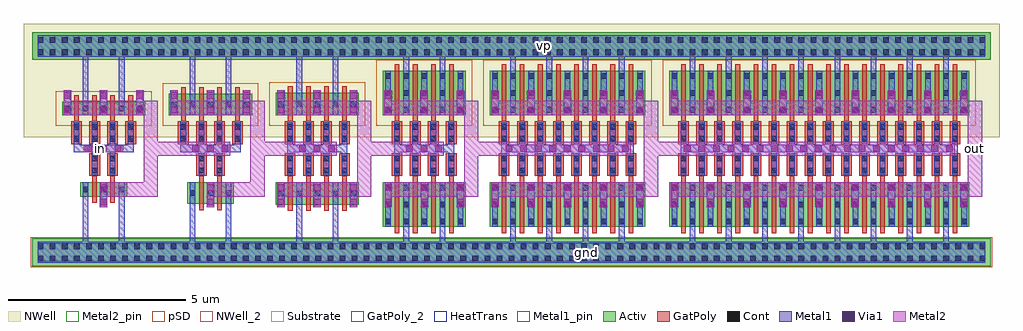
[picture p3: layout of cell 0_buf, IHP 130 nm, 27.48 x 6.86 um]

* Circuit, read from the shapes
.subckt 0_buf gnd in out vp
XM1 n1 in gnd gnd sg13_lv_nmos w=0.4u l=0.13u m=2
XM2 n2 n1 gnd gnd sg13_lv_nmos w=0.6u l=0.13u m=2
XM3 gnd n2 n3 gnd sg13_lv_nmos w=0.625u l=0.13u m=4
XM4 gnd n3 n4 gnd sg13_lv_nmos w=1.25u l=0.13u m=4
XM5 gnd n4 n5 gnd sg13_lv_nmos w=1.25u l=0.13u m=8
XM6 gnd n5 out gnd sg13_lv_nmos w=1.25u l=0.13u m=16
XM7 vp in n1 vp sg13_lv_pmos w=0.375u l=0.13u m=4
XM8 vp n1 n2 vp sg13_lv_pmos w=0.6u l=0.13u m=4
XM9 vp n2 n3 vp sg13_lv_pmos w=0.625u l=0.13u m=4
XM10 vp n3 n4 vp sg13_lv_pmos w=1.25u l=0.13u m=4
XM11 vp n4 n5 vp sg13_lv_pmos w=1.25u l=0.13u m=8
XM12 vp n5 out vp sg13_lv_pmos w=1.25u l=0.13u m=16
.ends

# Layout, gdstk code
from math import pi, radians
import gdstk
lib = gdstk.Library(unit=1e-6, precision=1e-09)
def R(c, l, rs):  # rectangles x0, y0, x1, y1
    for r in rs: c.add(gdstk.rectangle(r[:2], r[2:], *l))
def A(c, l, x, y, w, h, nx, ny, dx, dy):  # array of equal rectangles
    R(c, l, [(x+i*dx, y+j*dy, x+i*dx+w, y+j*dy+h) for i in range(nx) for j in range(ny)])
Activ = (1, 0)
GatPoly = (5, 0)
GatPoly_2 = (5, 2)
Cont = (6, 0)
Metal1 = (8, 0)
Metal1_pin = (8, 2)
Metal2 = (10, 0)
Metal2_pin = (10, 2)
pSD = (14, 0)
Via1 = (19, 0)
NWell = (31, 0)
NWell_2 = (31, 2)
Substrate = (40, 0)
HeatTrans = (51, 0)

pmos_5_1 = lib.new_cell('pmos$5$1')
A(pmos_5_1, Activ, 0, 0, 0.3, 0.3, 9, 1, 0.51, 0)
R(pmos_5_1, Activ, [(0,0,4.38,1.25)])
A(pmos_5_1, GatPoly, 0.34, -0.18, 0.13, 1.61, 8, 1, 0.51, 0)
R(pmos_5_1, GatPoly, [(0.34,-0.18,0.47,1.43)])
A(pmos_5_1, Cont, 0.07, 0.07, 0.16, 0.16, 9, 3, 0.51, 0.475)
A(pmos_5_1, Metal1, 0.58, 0, 0.16, 1.25, 8, 1, 0.51, 0)
R(pmos_5_1, Metal1, [(0.07,0,0.23,1.25), (0.07,0,0.23,1.25), (0.58,0,0.74,1.25)])
R(pmos_5_1, pSD, [(-0.18,-0.3,4.56,1.55)])
R(pmos_5_1, NWell, [(-0.31,-0.31,4.69,1.56)])
A(pmos_5_1, HeatTrans, 0.34, -0.18, 0.13, 1.61, 8, 1, 0.51, 0)
pmos_5_1.add(gdstk.Label('pmos', (0.405,0.625), layer=63, texttype=0))
pmos_5_1.add(gdstk.Label('pmos', (0.405,0.625), layer=51, texttype=0))
pmos_5_1.add(gdstk.Label('pmos', (0.915,0.625), layer=51, texttype=0))
pmos_5_1.add(gdstk.Label('pmos', (1.425,0.625), layer=51, texttype=0))
pmos_5_1.add(gdstk.Label('pmos', (1.935,0.625), layer=51, texttype=0))
pmos_5_1.add(gdstk.Label('pmos', (2.445,0.625), layer=51, texttype=0))
pmos_5_1.add(gdstk.Label('pmos', (2.955,0.625), layer=51, texttype=0))
pmos_5_1.add(gdstk.Label('pmos', (3.465,0.625), layer=51, texttype=0))
pmos_5_1.add(gdstk.Label('pmos', (3.975,0.625), layer=51, texttype=0))

nmos_5_1 = lib.new_cell('nmos$5$1')
A(nmos_5_1, Activ, 0, 0, 0.3, 0.3, 9, 1, 0.51, 0)
R(nmos_5_1, Activ, [(0,0,4.38,1.25)])
A(nmos_5_1, GatPoly, 0.34, -0.18, 0.13, 1.61, 8, 1, 0.51, 0)
R(nmos_5_1, GatPoly_2, [(0.34,-0.18,0.47,1.43)])
A(nmos_5_1, Cont, 0.07, 0.07, 0.16, 0.16, 9, 3, 0.51, 0.475)
A(nmos_5_1, Metal1, 0.07, 0, 0.16, 1.25, 9, 1, 0.51, 0)
R(nmos_5_1, Metal1_pin, [(0.07,0,0.23,1.25), (0.58,0,0.74,1.25)])
A(nmos_5_1, HeatTrans, 0.34, -0.18, 0.13, 1.61, 8, 1, 0.51, 0)
nmos_5_1.add(gdstk.Label('nmos', (0.405,0.625), layer=63, texttype=0))
nmos_5_1.add(gdstk.Label('nmos', (0.405,0.625), layer=51, texttype=0))
nmos_5_1.add(gdstk.Label('nmos', (0.915,0.625), layer=51, texttype=0))
nmos_5_1.add(gdstk.Label('nmos', (1.425,0.625), layer=51, texttype=0))
nmos_5_1.add(gdstk.Label('nmos', (1.935,0.625), layer=51, texttype=0))
nmos_5_1.add(gdstk.Label('nmos', (2.445,0.625), layer=51, texttype=0))
nmos_5_1.add(gdstk.Label('nmos', (2.955,0.625), layer=51, texttype=0))
nmos_5_1.add(gdstk.Label('nmos', (3.465,0.625), layer=51, texttype=0))
nmos_5_1.add(gdstk.Label('nmos', (3.975,0.625), layer=51, texttype=0))

ntap1_11 = lib.new_cell('ntap1$11')
R(ntap1_11, Activ, [(0,0,27,0.78)])
A(ntap1_11, Cont, 0.16, 0.14, 0.16, 0.16, 79, 2, 0.34, 0.34)
R(ntap1_11, Metal1, [(0.16,0.09,26.84,0.69)])
R(ntap1_11, Metal1_pin, [(0.16,0.09,26.84,0.69), (0.16,0.14,26.84,0.64)])
R(ntap1_11, NWell, [(-0.24,-0.24,27.24,1.02), (0,0,27,0.78)])
R(ntap1_11, NWell_2, [(0,0,27,0.78)])
ntap1_11.add(gdstk.Label('well', (13.5,0.01), layer=63, texttype=0))
ntap1_11.add(gdstk.Label('well', (13.5,0.01), layer=31, texttype=0))

ptap1_8 = lib.new_cell('ptap1$8')
R(ptap1_8, Activ, [(0,0,27,0.78)])
A(ptap1_8, Cont, 0.16, 0.14, 0.16, 0.16, 79, 2, 0.34, 0.34)
R(ptap1_8, Metal1, [(0.16,0.09,26.84,0.69), (0.16,0.14,26.84,0.64)])
R(ptap1_8, Metal1_pin, [(0.16,0.14,26.84,0.64)])
R(ptap1_8, pSD, [(-0.03,-0.03,27.03,0.81)])
R(ptap1_8, Substrate, [(0,0,27,0.78)])
ptap1_8.add(gdstk.Label('sub!', (13.5,0.01), layer=63, texttype=0))
ptap1_8.add(gdstk.Label('sub!', (13.5,0.01), layer=40, texttype=0))

via_7_2 = lib.new_cell('Via$7$2')
R(via_7_2, Metal1, [(-0.105,-1.785,0.105,1.785)])
R(via_7_2, Metal2, [(-0.1,-1.785,0.1,1.785)])
A(via_7_2, Via1, -0.095, -1.735, 0.19, 0.19, 1, 9, 0, 0.41)

via_26 = lib.new_cell('Via$26')
R(via_26, GatPoly, [(-0.15,-0.32,0.15,0.32)])
R(via_26, Cont, [(-0.08,-0.25,0.08,-0.09), (-0.08,0.09,0.08,0.25)])
R(via_26, Metal1, [(-0.08,-0.3,0.08,0.3)])

nmos_4_1 = lib.new_cell('nmos$4$1')
A(nmos_4_1, Activ, 0, 0, 0.3, 0.3, 17, 1, 0.51, 0)
R(nmos_4_1, Activ, [(0,0,8.46,1.25)])
A(nmos_4_1, GatPoly, 0.34, -0.18, 0.13, 1.61, 16, 1, 0.51, 0)
R(nmos_4_1, GatPoly_2, [(0.34,-0.18,0.47,1.43)])
A(nmos_4_1, Cont, 0.07, 0.07, 0.16, 0.16, 17, 3, 0.51, 0.475)
A(nmos_4_1, Metal1, 0.07, 0, 0.16, 1.25, 17, 1, 0.51, 0)
R(nmos_4_1, Metal1_pin, [(0.07,0,0.23,1.25), (0.58,0,0.74,1.25)])
A(nmos_4_1, HeatTrans, 0.34, -0.18, 0.13, 1.61, 16, 1, 0.51, 0)
nmos_4_1.add(gdstk.Label('nmos', (0.405,0.625), layer=63, texttype=0))
nmos_4_1.add(gdstk.Label('nmos', (0.405,0.625), layer=51, texttype=0))
nmos_4_1.add(gdstk.Label('nmos', (0.915,0.625), layer=51, texttype=0))
nmos_4_1.add(gdstk.Label('nmos', (1.425,0.625), layer=51, texttype=0))
nmos_4_1.add(gdstk.Label('nmos', (1.935,0.625), layer=51, texttype=0))
nmos_4_1.add(gdstk.Label('nmos', (2.445,0.625), layer=51, texttype=0))
nmos_4_1.add(gdstk.Label('nmos', (2.955,0.625), layer=51, texttype=0))
nmos_4_1.add(gdstk.Label('nmos', (3.465,0.625), layer=51, texttype=0))
nmos_4_1.add(gdstk.Label('nmos', (3.975,0.625), layer=51, texttype=0))
nmos_4_1.add(gdstk.Label('nmos', (4.485,0.625), layer=51, texttype=0))
nmos_4_1.add(gdstk.Label('nmos', (4.995,0.625), layer=51, texttype=0))
nmos_4_1.add(gdstk.Label('nmos', (5.505,0.625), layer=51, texttype=0))
nmos_4_1.add(gdstk.Label('nmos', (6.015,0.625), layer=51, texttype=0))
nmos_4_1.add(gdstk.Label('nmos', (6.525,0.625), layer=51, texttype=0))
nmos_4_1.add(gdstk.Label('nmos', (7.035,0.625), layer=51, texttype=0))
nmos_4_1.add(gdstk.Label('nmos', (7.545,0.625), layer=51, texttype=0))
nmos_4_1.add(gdstk.Label('nmos', (8.055,0.625), layer=51, texttype=0))

pmos_6_2 = lib.new_cell('pmos$6$2')
A(pmos_6_2, Activ, 0, 0, 0.3, 0.3, 17, 1, 0.51, 0)
R(pmos_6_2, Activ, [(0,0,8.46,1.25)])
A(pmos_6_2, GatPoly, 0.34, -0.18, 0.13, 1.61, 16, 1, 0.51, 0)
R(pmos_6_2, GatPoly, [(0.34,-0.18,0.47,1.43)])
A(pmos_6_2, Cont, 0.07, 0.07, 0.16, 0.16, 17, 3, 0.51, 0.475)
A(pmos_6_2, Metal1, 0.58, 0, 0.16, 1.25, 16, 1, 0.51, 0)
R(pmos_6_2, Metal1, [(0.07,0,0.23,1.25), (0.07,0,0.23,1.25), (0.58,0,0.74,1.25)])
R(pmos_6_2, pSD, [(-0.18,-0.3,8.64,1.55)])
R(pmos_6_2, NWell, [(-0.31,-0.31,8.77,1.56)])
A(pmos_6_2, HeatTrans, 0.34, -0.18, 0.13, 1.61, 16, 1, 0.51, 0)
pmos_6_2.add(gdstk.Label('pmos', (0.405,0.625), layer=63, texttype=0))
pmos_6_2.add(gdstk.Label('pmos', (0.405,0.625), layer=51, texttype=0))
pmos_6_2.add(gdstk.Label('pmos', (0.915,0.625), layer=51, texttype=0))
pmos_6_2.add(gdstk.Label('pmos', (1.425,0.625), layer=51, texttype=0))
pmos_6_2.add(gdstk.Label('pmos', (1.935,0.625), layer=51, texttype=0))
pmos_6_2.add(gdstk.Label('pmos', (2.445,0.625), layer=51, texttype=0))
pmos_6_2.add(gdstk.Label('pmos', (2.955,0.625), layer=51, texttype=0))
pmos_6_2.add(gdstk.Label('pmos', (3.465,0.625), layer=51, texttype=0))
pmos_6_2.add(gdstk.Label('pmos', (3.975,0.625), layer=51, texttype=0))
pmos_6_2.add(gdstk.Label('pmos', (4.485,0.625), layer=51, texttype=0))
pmos_6_2.add(gdstk.Label('pmos', (4.995,0.625), layer=51, texttype=0))
pmos_6_2.add(gdstk.Label('pmos', (5.505,0.625), layer=51, texttype=0))
pmos_6_2.add(gdstk.Label('pmos', (6.015,0.625), layer=51, texttype=0))
pmos_6_2.add(gdstk.Label('pmos', (6.525,0.625), layer=51, texttype=0))
pmos_6_2.add(gdstk.Label('pmos', (7.035,0.625), layer=51, texttype=0))
pmos_6_2.add(gdstk.Label('pmos', (7.545,0.625), layer=51, texttype=0))
pmos_6_2.add(gdstk.Label('pmos', (8.055,0.625), layer=51, texttype=0))

via_9_3 = lib.new_cell('Via$9$3')
R(via_9_3, Metal1, [(-0.105,-3.835,0.105,3.835)])
R(via_9_3, Metal2, [(-0.1,-3.835,0.1,3.835)])
A(via_9_3, Via1, -0.095, -3.785, 0.19, 0.19, 1, 19, 0, 0.41)

via_2_2 = lib.new_cell('Via$2$2')
R(via_2_2, Metal1, [(-0.105,-0.35,0.105,0.35)])
R(via_2_2, Metal2, [(-0.1,-0.35,0.1,0.35)])
R(via_2_2, Via1, [(-0.095,-0.3,0.095,-0.11), (-0.095,0.11,0.095,0.3)])

pmos_3_2 = lib.new_cell('pmos$3$2')
A(pmos_3_2, Activ, 0, 0, 0.3, 0.3, 5, 1, 0.51, 0)
R(pmos_3_2, Activ, [(0,0,2.34,1.25)])
A(pmos_3_2, GatPoly, 0.34, -0.18, 0.13, 1.61, 4, 1, 0.51, 0)
R(pmos_3_2, GatPoly, [(0.34,-0.18,0.47,1.43)])
A(pmos_3_2, Cont, 0.07, 0.07, 0.16, 0.16, 5, 3, 0.51, 0.475)
A(pmos_3_2, Metal1, 0.58, 0, 0.16, 1.25, 4, 1, 0.51, 0)
R(pmos_3_2, Metal1, [(0.07,0,0.23,1.25), (0.07,0,0.23,1.25), (0.58,0,0.74,1.25)])
R(pmos_3_2, pSD, [(-0.18,-0.3,2.52,1.55)])
R(pmos_3_2, NWell, [(-0.31,-0.31,2.65,1.56)])
A(pmos_3_2, HeatTrans, 0.34, -0.18, 0.13, 1.61, 4, 1, 0.51, 0)
pmos_3_2.add(gdstk.Label('pmos', (0.405,0.625), layer=63, texttype=0))
pmos_3_2.add(gdstk.Label('pmos', (0.405,0.625), layer=51, texttype=0))
pmos_3_2.add(gdstk.Label('pmos', (0.915,0.625), layer=51, texttype=0))
pmos_3_2.add(gdstk.Label('pmos', (1.425,0.625), layer=51, texttype=0))
pmos_3_2.add(gdstk.Label('pmos', (1.935,0.625), layer=51, texttype=0))

nmos_2_4 = lib.new_cell('nmos$2$4')
A(nmos_2_4, Activ, 0, 0, 0.3, 0.3, 5, 1, 0.51, 0)
R(nmos_2_4, Activ, [(0,0,2.34,1.25)])
A(nmos_2_4, GatPoly, 0.34, -0.18, 0.13, 1.61, 4, 1, 0.51, 0)
R(nmos_2_4, GatPoly_2, [(0.34,-0.18,0.47,1.43)])
A(nmos_2_4, Cont, 0.07, 0.07, 0.16, 0.16, 5, 3, 0.51, 0.475)
A(nmos_2_4, Metal1, 0.07, 0, 0.16, 1.25, 5, 1, 0.51, 0)
R(nmos_2_4, Metal1_pin, [(0.07,0,0.23,1.25), (0.58,0,0.74,1.25)])
A(nmos_2_4, HeatTrans, 0.34, -0.18, 0.13, 1.61, 4, 1, 0.51, 0)
nmos_2_4.add(gdstk.Label('nmos', (0.405,0.625), layer=63, texttype=0))
nmos_2_4.add(gdstk.Label('nmos', (0.405,0.625), layer=51, texttype=0))
nmos_2_4.add(gdstk.Label('nmos', (0.915,0.625), layer=51, texttype=0))
nmos_2_4.add(gdstk.Label('nmos', (1.425,0.625), layer=51, texttype=0))
nmos_2_4.add(gdstk.Label('nmos', (1.935,0.625), layer=51, texttype=0))

nmos_11 = lib.new_cell('nmos$11')
A(nmos_11, Activ, 0, 0, 0.3, 0.3, 3, 1, 0.51, 0)
R(nmos_11, Activ, [(0,0,1.32,0.4)])
R(nmos_11, GatPoly, [(0.34,-0.18,0.47,0.58), (0.85,-0.18,0.98,0.58)])
R(nmos_11, GatPoly_2, [(0.34,-0.18,0.47,0.58)])
A(nmos_11, Cont, 0.07, 0.12, 0.16, 0.16, 3, 1, 0.51, 0)
A(nmos_11, Metal1, 0.07, 0, 0.16, 0.4, 3, 1, 0.51, 0)
R(nmos_11, Metal1_pin, [(0.07,0,0.23,0.4), (0.58,0,0.74,0.4)])
R(nmos_11, HeatTrans, [(0.34,-0.18,0.47,0.58), (0.85,-0.18,0.98,0.58)])
nmos_11.add(gdstk.Label('nmos', (0.405,0.2), layer=63, texttype=0))
nmos_11.add(gdstk.Label('nmos', (0.405,0.2), layer=51, texttype=0))
nmos_11.add(gdstk.Label('nmos', (0.915,0.2), layer=51, texttype=0))

pmos_10 = lib.new_cell('pmos$10')
A(pmos_10, Activ, 0, 0, 0.3, 0.3, 5, 1, 0.51, 0)
R(pmos_10, Activ, [(0,0,2.34,0.375)])
A(pmos_10, GatPoly, 0.34, -0.18, 0.13, 0.735, 4, 1, 0.51, 0)
R(pmos_10, GatPoly, [(0.34,-0.18,0.47,0.555)])
A(pmos_10, Cont, 0.07, 0.105, 0.16, 0.16, 5, 1, 0.51, 0)
A(pmos_10, Metal1, 0.58, 0, 0.16, 0.375, 4, 1, 0.51, 0)
R(pmos_10, Metal1, [(0.07,0,0.23,0.375), (0.07,0,0.23,0.375), (0.58,0,0.74,0.375)])
R(pmos_10, pSD, [(-0.18,-0.3,2.52,0.675)])
R(pmos_10, NWell, [(-0.31,-0.31,2.65,0.685)])
A(pmos_10, HeatTrans, 0.34, -0.18, 0.13, 0.735, 4, 1, 0.51, 0)
pmos_10.add(gdstk.Label('pmos', (0.405,0.187), layer=63, texttype=0))
pmos_10.add(gdstk.Label('pmos', (0.405,0.187), layer=51, texttype=0))
pmos_10.add(gdstk.Label('pmos', (0.915,0.187), layer=51, texttype=0))
pmos_10.add(gdstk.Label('pmos', (1.425,0.187), layer=51, texttype=0))
pmos_10.add(gdstk.Label('pmos', (1.935,0.187), layer=51, texttype=0))

nmos_1_1 = lib.new_cell('nmos$1$1')
A(nmos_1_1, Activ, 0, 0, 0.3, 0.3, 3, 1, 0.51, 0)
R(nmos_1_1, Activ, [(0,0,1.32,0.6)])
R(nmos_1_1, GatPoly, [(0.34,-0.18,0.47,0.78), (0.85,-0.18,0.98,0.78)])
R(nmos_1_1, GatPoly_2, [(0.34,-0.18,0.47,0.78)])
A(nmos_1_1, Cont, 0.07, 0.22, 0.16, 0.16, 3, 1, 0.51, 0)
A(nmos_1_1, Metal1, 0.07, 0, 0.16, 0.6, 3, 1, 0.51, 0)
R(nmos_1_1, Metal1_pin, [(0.07,0,0.23,0.6), (0.58,0,0.74,0.6)])
R(nmos_1_1, HeatTrans, [(0.34,-0.18,0.47,0.78), (0.85,-0.18,0.98,0.78)])
nmos_1_1.add(gdstk.Label('nmos', (0.405,0.3), layer=63, texttype=0))
nmos_1_1.add(gdstk.Label('nmos', (0.405,0.3), layer=51, texttype=0))
nmos_1_1.add(gdstk.Label('nmos', (0.915,0.3), layer=51, texttype=0))

pmos_1_1 = lib.new_cell('pmos$1$1')
A(pmos_1_1, Activ, 0, 0, 0.3, 0.3, 5, 1, 0.51, 0)
R(pmos_1_1, Activ, [(0,0,2.34,0.6)])
A(pmos_1_1, GatPoly, 0.34, -0.18, 0.13, 0.96, 4, 1, 0.51, 0)
R(pmos_1_1, GatPoly, [(0.34,-0.18,0.47,0.78)])
A(pmos_1_1, Cont, 0.07, 0.22, 0.16, 0.16, 5, 1, 0.51, 0)
A(pmos_1_1, Metal1, 0.58, 0, 0.16, 0.6, 4, 1, 0.51, 0)
R(pmos_1_1, Metal1, [(0.07,0,0.23,0.6), (0.07,0,0.23,0.6), (0.58,0,0.74,0.6)])
R(pmos_1_1, pSD, [(-0.18,-0.3,2.52,0.9)])
R(pmos_1_1, NWell, [(-0.31,-0.31,2.65,0.91)])
A(pmos_1_1, HeatTrans, 0.34, -0.18, 0.13, 0.96, 4, 1, 0.51, 0)
pmos_1_1.add(gdstk.Label('pmos', (0.405,0.3), layer=63, texttype=0))
pmos_1_1.add(gdstk.Label('pmos', (0.405,0.3), layer=51, texttype=0))
pmos_1_1.add(gdstk.Label('pmos', (0.915,0.3), layer=51, texttype=0))
pmos_1_1.add(gdstk.Label('pmos', (1.425,0.3), layer=51, texttype=0))
pmos_1_1.add(gdstk.Label('pmos', (1.935,0.3), layer=51, texttype=0))

via_4_3 = lib.new_cell('Via$4$3')
R(via_4_3, Metal1, [(-0.105,-0.555,0.105,0.555)])
R(via_4_3, Metal2, [(-0.1,-0.555,0.1,0.555)])
A(via_4_3, Via1, -0.095, -0.505, 0.19, 0.19, 1, 3, 0, 0.41)

nmos_3_2 = lib.new_cell('nmos$3$2')
A(nmos_3_2, Activ, 0, 0, 0.3, 0.3, 5, 1, 0.51, 0)
R(nmos_3_2, Activ, [(0,0,2.34,0.625)])
A(nmos_3_2, GatPoly, 0.34, -0.18, 0.13, 0.985, 4, 1, 0.51, 0)
R(nmos_3_2, GatPoly_2, [(0.34,-0.18,0.47,0.805)])
A(nmos_3_2, Cont, 0.07, 0.23, 0.16, 0.16, 5, 1, 0.51, 0)
A(nmos_3_2, Metal1, 0.07, 0, 0.16, 0.625, 5, 1, 0.51, 0)
R(nmos_3_2, Metal1_pin, [(0.07,0,0.23,0.625), (0.58,0,0.74,0.625)])
A(nmos_3_2, HeatTrans, 0.34, -0.18, 0.13, 0.985, 4, 1, 0.51, 0)
nmos_3_2.add(gdstk.Label('nmos', (0.405,0.313), layer=63, texttype=0))
nmos_3_2.add(gdstk.Label('nmos', (0.405,0.313), layer=51, texttype=0))
nmos_3_2.add(gdstk.Label('nmos', (0.915,0.313), layer=51, texttype=0))
nmos_3_2.add(gdstk.Label('nmos', (1.425,0.313), layer=51, texttype=0))
nmos_3_2.add(gdstk.Label('nmos', (1.935,0.313), layer=51, texttype=0))

pmos_2_4 = lib.new_cell('pmos$2$4')
A(pmos_2_4, Activ, 0, 0, 0.3, 0.3, 5, 1, 0.51, 0)
R(pmos_2_4, Activ, [(0,0,2.34,0.625)])
A(pmos_2_4, GatPoly, 0.34, -0.18, 0.13, 0.985, 4, 1, 0.51, 0)
R(pmos_2_4, GatPoly, [(0.34,-0.18,0.47,0.805)])
A(pmos_2_4, Cont, 0.07, 0.23, 0.16, 0.16, 5, 1, 0.51, 0)
A(pmos_2_4, Metal1, 0.58, 0, 0.16, 0.625, 4, 1, 0.51, 0)
R(pmos_2_4, Metal1, [(0.07,0,0.23,0.625), (0.07,0,0.23,0.625), (0.58,0,0.74,0.625)])
R(pmos_2_4, pSD, [(-0.18,-0.3,2.52,0.925)])
R(pmos_2_4, NWell, [(-0.31,-0.31,2.65,0.935)])
A(pmos_2_4, HeatTrans, 0.34, -0.18, 0.13, 0.985, 4, 1, 0.51, 0)
pmos_2_4.add(gdstk.Label('pmos', (0.405,0.313), layer=63, texttype=0))
pmos_2_4.add(gdstk.Label('pmos', (0.405,0.313), layer=51, texttype=0))
pmos_2_4.add(gdstk.Label('pmos', (0.915,0.313), layer=51, texttype=0))
pmos_2_4.add(gdstk.Label('pmos', (1.425,0.313), layer=51, texttype=0))
pmos_2_4.add(gdstk.Label('pmos', (1.935,0.313), layer=51, texttype=0))

c_0_buf = lib.new_cell('0_buf')
A(c_0_buf, Metal1, 13.355, -2.335, 0.16, 1.395, 4, 2, 1.02, 4.35)
A(c_0_buf, Metal1, 18.405, -2.335, 0.16, 1.395, 8, 2, 1.02, 4.73)
A(c_0_buf, Metal1, 19.17, 0.415, 0.16, 0.49, 3, 1, 0.51, 0)
A(c_0_buf, Metal1, 21.21, 0.415, 0.16, 0.49, 3, 1, 0.51, 0)
A(c_0_buf, Metal1, 23.25, 0.415, 0.16, 0.49, 3, 1, 0.51, 0)
R(c_0_buf, Metal1, [(1.315,-2.035,1.475,-0.64), (2.335,-2.035,2.495,-0.64), (4.325,-2.035,4.485,-0.64), (5.345,-2.035,5.505,-0.64), (7.335,-2.035,7.495,-0.64), (8.355,-2.035,8.515,-0.64), (10.345,-2.035,10.505,-0.64), (11.365,-2.035,11.525,-0.64), (8.605,0.265,8.765,0.89), (11.615,0.265,11.775,0.89), (15.65,0.265,15.81,0.89), (7.075,0.285,7.235,0.84), (10.085,0.285,10.245,0.84), (14.12,0.285,14.28,0.84), (2.08,0.335,2.24,0.84), (5.09,0.335,5.25,0.84), (8.095,0.335,8.255,0.84), (11.105,0.335,11.265,0.84), (15.14,0.335,15.3,0.84), (1.575,0.39,1.735,0.84), (4.585,0.39,4.745,0.84), (7.59,0.39,7.75,0.84), (10.6,0.39,10.76,0.84), (13.615,0.39,13.775,0.89), (14.635,0.39,14.795,0.84), (18.15,0.415,18.31,0.905), (18.665,0.415,18.825,0.905), (20.705,0.415,20.865,0.905), (22.745,0.415,22.905,0.905), (24.785,0.415,24.945,0.905), (25.29,0.415,25.45,0.905), (25.8,0.415,25.96,0.905), (13.1,0.445,13.26,0.84), (16.67,0.47,16.83,0.925), (16.16,0.485,16.32,0.95), (1.06,0.59,1.345,0.8), (2.425,0.59,2.75,0.8), (4.07,0.59,4.355,0.8), (5.435,0.59,5.76,0.8), (7.075,0.59,7.36,0.8), (8.44,0.59,8.765,0.8), (10.085,0.59,10.37,0.8), (11.45,0.59,11.775,0.8), (14.12,0.59,14.405,0.8), (15.485,0.59,15.81,0.8), (2.59,0.605,2.75,0.89), (5.6,0.605,5.76,0.89), (1.06,0.63,1.22,0.84), (4.07,0.63,4.23,0.84), (1.315,2.015,1.475,3.41), (2.335,2.015,2.495,3.41), (4.325,2.015,4.485,3.41), (5.345,2.015,5.505,3.41), (7.335,2.015,7.495,3.41), (8.355,2.015,8.515,3.41), (10.345,2.015,10.505,3.41), (11.365,2.015,11.525,3.41)])
R(c_0_buf, Metal1_pin, [(15.435,-2.285,15.565,-2.155), (14.25,3.545,14.38,3.675)])
A(c_0_buf, Metal2, 3.34, 0.495, 2.125, 0.4, 3, 1, 3.01, 0)
R(c_0_buf, Metal2, [(1.805,-0.655,2.405,-0.255), (1.81,-0.655,3.03,-0.255), (3.03,-0.655,3.43,2.04), (4.815,-0.655,5.415,-0.255), (4.82,-0.655,6.04,-0.255), (6.04,-0.655,6.44,2.04), (6.805,-0.655,9.045,-0.255), (7.82,-0.655,8.42,-0.255), (9.045,-0.655,9.445,2.04), (9.82,-0.655,12.06,-0.255), (10.835,-0.655,11.435,-0.255), (12.06,-0.655,12.46,2.04), (12.825,-0.655,17.12,-0.255), (13.84,-0.655,14.44,-0.255), (17.115,-0.655,17.515,2.04), (17.895,-0.655,26.245,-0.255), (18.89,-0.655,19.49,-0.255), (22.965,-0.655,23.565,-0.255), (26.24,-0.655,26.64,2.04), (12.255,0.495,16.745,0.895), (17.38,0.495,25.865,0.895), (0.79,1.64,3.03,2.04), (3.795,1.64,6.36,2.04), (6.8,1.64,9.365,2.04), (9.815,1.64,12.38,2.04), (12.845,1.64,17.355,2.04), (17.88,1.64,26.48,2.04)])
R(c_0_buf, Metal2_pin, [(1.765,0.63,1.895,0.76), (26.375,0.645,26.505,0.775)])
R(c_0_buf, NWell, [(-0.35,1.02,27.13,4.21)])
c_0_buf.add(gdstk.Reference(pmos_5_1, (12.775,1.64)))
c_0_buf.add(gdstk.Reference(nmos_5_1, (12.775,-1.505)))
c_0_buf.add(gdstk.Reference(ntap1_11, (-0.11,3.19)))
c_0_buf.add(gdstk.Reference(ptap1_8, (-0.11,-2.615)))
c_0_buf.add(gdstk.Reference(via_7_2, (14.96,0.695), rotation=pi/2))
c_0_buf.add(gdstk.Reference(via_26, (15.73,1.14)))
c_0_buf.add(gdstk.Reference(via_26, (14.2,1.14)))
c_0_buf.add(gdstk.Reference(via_26, (15.22,0.245)))
c_0_buf.add(gdstk.Reference(via_26, (13.695,0.245)))
c_0_buf.add(gdstk.Reference(via_26, (13.695,1.14)))
c_0_buf.add(gdstk.Reference(via_26, (15.22,1.14)))
c_0_buf.add(gdstk.Reference(via_26, (16.75,0.245)))
c_0_buf.add(gdstk.Reference(via_26, (14.715,0.245)))
c_0_buf.add(gdstk.Reference(via_26, (14.715,1.14)))
c_0_buf.add(gdstk.Reference(via_26, (14.2,0.245)))
c_0_buf.add(gdstk.Reference(via_26, (16.24,1.14)))
c_0_buf.add(gdstk.Reference(via_26, (16.24,0.245)))
c_0_buf.add(gdstk.Reference(via_26, (15.73,0.245)))
c_0_buf.add(gdstk.Reference(via_26, (16.75,1.14)))
c_0_buf.add(gdstk.Reference(via_26, (19.76,1.14)))
c_0_buf.add(gdstk.Reference(via_26, (18.23,1.14)))
c_0_buf.add(gdstk.Reference(via_26, (19.25,0.245)))
c_0_buf.add(gdstk.Reference(via_26, (19.25,1.14)))
c_0_buf.add(gdstk.Reference(via_26, (18.745,0.245)))
c_0_buf.add(gdstk.Reference(via_26, (18.745,1.14)))
c_0_buf.add(gdstk.Reference(via_26, (18.23,0.245)))
c_0_buf.add(gdstk.Reference(via_26, (19.76,0.245)))
c_0_buf.add(gdstk.Reference(via_26, (21.8,0.245)))
c_0_buf.add(gdstk.Reference(via_26, (20.27,0.245)))
c_0_buf.add(gdstk.Reference(via_26, (20.785,1.14)))
c_0_buf.add(gdstk.Reference(via_26, (20.785,0.245)))
c_0_buf.add(gdstk.Reference(via_26, (21.29,1.14)))
c_0_buf.add(gdstk.Reference(via_26, (21.29,0.245)))
c_0_buf.add(gdstk.Reference(via_26, (20.27,1.14)))
c_0_buf.add(gdstk.Reference(via_26, (21.8,1.14)))
c_0_buf.add(gdstk.Reference(via_26, (23.84,1.14)))
c_0_buf.add(gdstk.Reference(via_26, (22.31,1.14)))
c_0_buf.add(gdstk.Reference(via_26, (23.33,0.245)))
c_0_buf.add(gdstk.Reference(via_26, (23.33,1.14)))
c_0_buf.add(gdstk.Reference(via_26, (22.825,0.245)))
c_0_buf.add(gdstk.Reference(via_26, (22.825,1.14)))
c_0_buf.add(gdstk.Reference(via_26, (22.31,0.245)))
c_0_buf.add(gdstk.Reference(via_26, (23.84,0.245)))
c_0_buf.add(gdstk.Reference(via_26, (25.88,0.245)))
c_0_buf.add(gdstk.Reference(via_26, (24.35,0.245)))
c_0_buf.add(gdstk.Reference(via_26, (24.865,1.14)))
c_0_buf.add(gdstk.Reference(via_26, (24.865,0.245)))
c_0_buf.add(gdstk.Reference(via_26, (25.37,1.14)))
c_0_buf.add(gdstk.Reference(via_26, (25.37,0.245)))
c_0_buf.add(gdstk.Reference(via_26, (24.35,1.14)))
c_0_buf.add(gdstk.Reference(via_26, (25.88,1.14)))
c_0_buf.add(gdstk.Reference(nmos_4_1, (17.825,-1.505)))
c_0_buf.add(gdstk.Reference(pmos_6_2, (17.825,1.64)))
c_0_buf.add(gdstk.Reference(via_9_3, (22.03,0.695), rotation=pi/2))
c_0_buf.add(gdstk.Reference(via_2_2, (14.965,1.99)))
c_0_buf.add(gdstk.Reference(via_2_2, (15.985,1.99)))
c_0_buf.add(gdstk.Reference(via_2_2, (13.945,1.99)))
c_0_buf.add(gdstk.Reference(via_2_2, (13.94,-0.605)))
c_0_buf.add(gdstk.Reference(via_2_2, (14.965,-0.605)))
c_0_buf.add(gdstk.Reference(via_2_2, (15.985,-0.605)))
c_0_buf.add(gdstk.Reference(via_2_2, (17.01,-0.605)))
c_0_buf.add(gdstk.Reference(via_2_2, (17.01,1.99)))
c_0_buf.add(gdstk.Reference(via_2_2, (23.065,-0.605)))
c_0_buf.add(gdstk.Reference(via_2_2, (24.09,-0.605)))
c_0_buf.add(gdstk.Reference(via_2_2, (22.05,-0.605)))
c_0_buf.add(gdstk.Reference(via_2_2, (25.11,-0.605)))
c_0_buf.add(gdstk.Reference(via_2_2, (26.135,-0.605)))
c_0_buf.add(gdstk.Reference(via_2_2, (26.135,1.99)))
c_0_buf.add(gdstk.Reference(via_2_2, (22.05,1.99)))
c_0_buf.add(gdstk.Reference(via_2_2, (23.07,1.99)))
c_0_buf.add(gdstk.Reference(via_2_2, (25.11,1.99)))
c_0_buf.add(gdstk.Reference(via_2_2, (24.09,1.99)))
c_0_buf.add(gdstk.Reference(via_2_2, (17.975,1.99)))
c_0_buf.add(gdstk.Reference(via_2_2, (18.995,1.99)))
c_0_buf.add(gdstk.Reference(via_2_2, (21.035,1.99)))
c_0_buf.add(gdstk.Reference(via_2_2, (20.015,1.99)))
c_0_buf.add(gdstk.Reference(via_2_2, (18.99,-0.605)))
c_0_buf.add(gdstk.Reference(via_2_2, (20.015,-0.605)))
c_0_buf.add(gdstk.Reference(via_2_2, (17.975,-0.605)))
c_0_buf.add(gdstk.Reference(via_2_2, (21.035,-0.605)))
c_0_buf.add(gdstk.Reference(via_26, (13.18,1.14)))
c_0_buf.add(gdstk.Reference(pmos_3_2, (9.765,1.64)))
c_0_buf.add(gdstk.Reference(nmos_2_4, (9.765,-1.505)))
c_0_buf.add(gdstk.Reference(nmos_11, (1.245,-0.655)))
c_0_buf.add(gdstk.Reference(pmos_10, (0.735,1.64)))
c_0_buf.add(gdstk.Reference(via_26, (13.18,0.245)))
c_0_buf.add(gdstk.Reference(nmos_1_1, (4.255,-0.855)))
c_0_buf.add(gdstk.Reference(pmos_1_1, (3.745,1.64)))
c_0_buf.add(gdstk.Reference(via_26, (2.67,1.14)))
c_0_buf.add(gdstk.Reference(via_26, (1.14,1.14)))
c_0_buf.add(gdstk.Reference(via_2_2, (1.905,-0.605)))
c_0_buf.add(gdstk.Reference(via_2_2, (1.905,1.99)))
c_0_buf.add(gdstk.Reference(via_2_2, (2.925,1.99)))
c_0_buf.add(gdstk.Reference(via_2_2, (0.885,1.99)))
c_0_buf.add(gdstk.Reference(via_4_3, (1.9,0.695), rotation=pi/2))
c_0_buf.add(gdstk.Reference(via_4_3, (4.91,0.695), rotation=pi/2))
c_0_buf.add(gdstk.Reference(via_4_3, (7.915,0.695), rotation=pi/2))
c_0_buf.add(gdstk.Reference(via_2_2, (4.91,1.99)))
c_0_buf.add(gdstk.Reference(via_2_2, (5.93,1.99)))
c_0_buf.add(gdstk.Reference(via_2_2, (3.89,1.99)))
c_0_buf.add(gdstk.Reference(via_2_2, (4.915,-0.605)))
c_0_buf.add(gdstk.Reference(via_4_3, (10.925,0.695), rotation=pi/2))
c_0_buf.add(gdstk.Reference(via_2_2, (7.915,1.99)))
c_0_buf.add(gdstk.Reference(via_2_2, (8.935,1.99)))
c_0_buf.add(gdstk.Reference(via_2_2, (6.895,1.99)))
c_0_buf.add(gdstk.Reference(via_2_2, (7.92,-0.605)))
c_0_buf.add(gdstk.Reference(via_2_2, (8.945,-0.605)))
c_0_buf.add(gdstk.Reference(via_2_2, (6.905,-0.605)))
c_0_buf.add(gdstk.Reference(via_26, (2.16,0.245)))
c_0_buf.add(gdstk.Reference(via_2_2, (10.93,1.99)))
c_0_buf.add(gdstk.Reference(via_2_2, (11.95,1.99)))
c_0_buf.add(gdstk.Reference(via_2_2, (9.91,1.99)))
c_0_buf.add(gdstk.Reference(via_2_2, (10.935,-0.605)))
c_0_buf.add(gdstk.Reference(via_2_2, (11.96,-0.605)))
c_0_buf.add(gdstk.Reference(via_2_2, (9.92,-0.605)))
c_0_buf.add(gdstk.Reference(via_26, (2.16,1.14)))
c_0_buf.add(gdstk.Reference(via_26, (1.655,0.245)))
c_0_buf.add(gdstk.Reference(via_26, (1.655,1.14)))
c_0_buf.add(gdstk.Reference(nmos_3_2, (6.755,-0.88)))
c_0_buf.add(gdstk.Reference(via_26, (5.68,1.14)))
c_0_buf.add(gdstk.Reference(via_26, (4.15,1.14)))
c_0_buf.add(gdstk.Reference(via_2_2, (12.925,-0.605)))
c_0_buf.add(gdstk.Reference(via_26, (5.17,0.245)))
c_0_buf.add(gdstk.Reference(via_26, (5.17,1.14)))
c_0_buf.add(gdstk.Reference(via_2_2, (12.925,1.99)))
c_0_buf.add(gdstk.Reference(via_26, (4.665,0.245)))
c_0_buf.add(gdstk.Reference(via_26, (4.665,1.14)))
c_0_buf.add(gdstk.Reference(via_26, (8.685,1.14)))
c_0_buf.add(gdstk.Reference(via_26, (7.155,1.14)))
c_0_buf.add(gdstk.Reference(via_26, (8.175,0.245)))
c_0_buf.add(gdstk.Reference(via_26, (8.175,1.14)))
c_0_buf.add(gdstk.Reference(via_26, (7.67,0.245)))
c_0_buf.add(gdstk.Reference(via_26, (7.67,1.14)))
c_0_buf.add(gdstk.Reference(via_26, (7.155,0.245)))
c_0_buf.add(gdstk.Reference(via_26, (8.685,0.245)))
c_0_buf.add(gdstk.Reference(via_26, (11.695,1.14)))
c_0_buf.add(gdstk.Reference(via_26, (10.165,1.14)))
c_0_buf.add(gdstk.Reference(via_26, (11.185,0.245)))
c_0_buf.add(gdstk.Reference(via_26, (11.185,1.14)))
c_0_buf.add(gdstk.Reference(via_26, (10.68,0.245)))
c_0_buf.add(gdstk.Reference(via_26, (10.68,1.14)))
c_0_buf.add(gdstk.Reference(via_26, (10.165,0.245)))
c_0_buf.add(gdstk.Reference(via_26, (11.695,0.245)))
c_0_buf.add(gdstk.Reference(pmos_2_4, (6.755,1.64)))
c_0_buf.add(gdstk.Label('in', (1.83,0.695), layer=10, texttype=25))
c_0_buf.add(gdstk.Label('out', (26.44,0.71), layer=10, texttype=25))
c_0_buf.add(gdstk.Label('vp', (14.315,3.61), layer=8, texttype=25))
c_0_buf.add(gdstk.Label('gnd', (15.5,-2.22), layer=8, texttype=25))

lib.write_gds('0_buf.gds')
